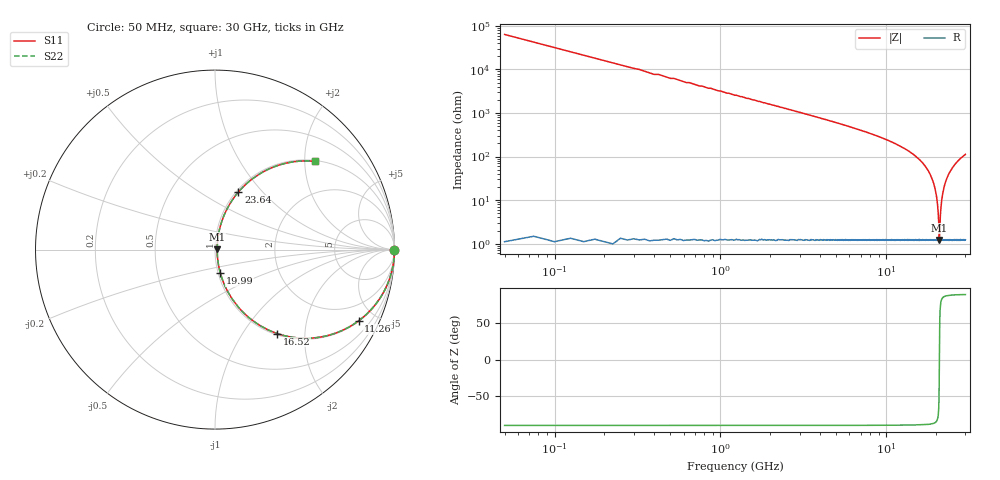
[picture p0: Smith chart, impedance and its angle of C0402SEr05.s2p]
!	AVX Thin Film Operation 	Date: April 2014
!	Description: Accu-P® Series, Thin Film  SMD RF Capacitor
!	Part Number: 04021JR05ZBSTR
# MHZ S MA R 50
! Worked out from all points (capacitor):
!   1201 points, 50 MHz to 30 GHz, reference 50 ohm
!   read as one part in series: C = 50 fF near 199.8 MHz
!   lowest |Z| = 1.22 ohm at 20.92 GHz (marker M1)
!   series resonance near 20.91 GHz, so ESL is about 1.2 nH
!   S11 on the Smith chart (normalised r, x): 50 MHz: open; 11.26 GHz: 1.02, -4.02; 16.52 GHz: 1.02, -1.45; 19.99 GHz: 1.02, -0.27; 23.64 GHz: 1.02, +0.75; 30 GHz: 1.02, +2.25
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50  1 -0.1  0.001571 89.9  0.001571 89.9  1 -0.1
274.625  1 -0.5  0.008629 89.5  0.008629 89.5  1 -0.5
449.333  1 -0.8  0.014 89.2  0.014 89.2  1 -0.8
1173.125  0.999 -2.1  0.037 87.9  0.037 87.9  0.999 -2.1
2720.542  0.996 -5.0  0.087 85.0  0.087 85.0  0.996 -5.0
5041.667  0.986 -9.5  0.166 80.3  0.166 80.3  0.986 -9.5
10058.29  0.923 -22.3  0.38 67.4  0.38 67.4  0.923 -22.3
11256.29  0.893 -26.4  0.445 63.2  0.445 63.2  0.893 -26.4
15025  0.711 -44.0  0.694 45.3  0.694 45.3  0.711 -44.0
16522.5  0.582 -53.5  0.804 35.6  0.804 35.6  0.582 -53.5
18668.92  0.323 -69.1  0.935 18.8  0.935 18.8  0.323 -69.1
19991.71  0.134 -77.2  0.979 7.7  0.979 7.7  0.134 -77.2
20016.67  0.13 -77.3  0.98 7.5  0.98 7.5  0.13 -77.3
20465.92  0.065 -75.7  0.986 3.7  0.986 3.7  0.065 -75.7
20815.33  0.018 -47.0  0.988 0.8  0.988 0.8  0.018 -47.0
20915.17  0.012 5.5  0.988 -0.1  0.988 -0.1  0.012 5.5
21339.46  0.063 75.4  0.986 -3.5  0.986 -3.5  0.063 75.4
21788.71  0.124 77.4  0.98 -7.1  0.98 -7.1  0.124 77.4
22537.46  0.221 74.2  0.964 -12.7  0.964 -12.7  0.221 74.2
23635.62  0.347 67.8  0.927 -20.3  0.927 -20.3  0.347 67.8
25033.29  0.479 60.2  0.868 -28.6  0.868 -28.6  0.479 60.2
30000  0.743 41.4  0.661 -48.0  0.661 -48.0  0.743 41.4
